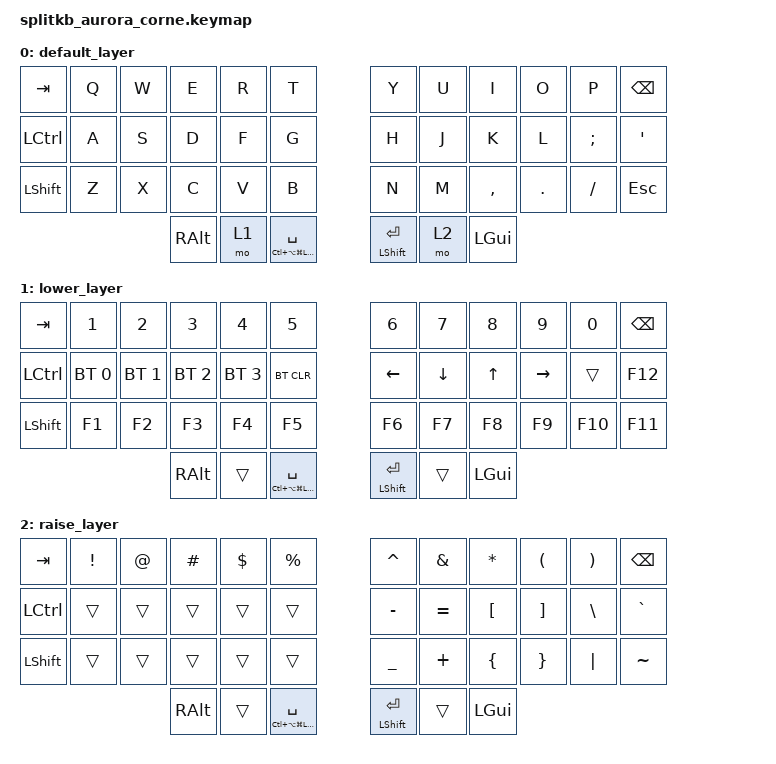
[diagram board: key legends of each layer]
/*
 * Copyright (c) 2020 The ZMK Contributors
 *
 * SPDX-License-Identifier: MIT
 */

#include <behaviors.dtsi>
#include <dt-bindings/zmk/keys.h>
#include <dt-bindings/zmk/bt.h>

&mt {
    retro-tap;
    flavor="tap-preferred";
};

/ {
        keymap {
                compatible = "zmk,keymap";

                default_layer {
// -----------------------------------------------------------------------------------------
// |  TAB |  Q  |  W  |  E  |  R  |  T  |   |  Y  |  U   |  I  |  O  |  P  | BSPC |
// | CTRL |  A  |  S  |  D  |  F  |  G  |   |  H  |  J   |  K  |  L  |  ;  |  '   |
// | SHFT |  Z  |  X  |  C  |  V  |  B  |   |  N  |  M   |  ,  |  .  |  /  | ESC  |
//                    | ALT | LWR | HSPC |   | HENT | RSE  | GUI |
                        bindings = <
   &kp TAB   &kp Q &kp W &kp E &kp R &kp T   &kp Y &kp U  &kp I     &kp O   &kp P    &kp BSPC
   &kp LCTRL &kp A &kp S &kp D &kp F &kp G   &kp H &kp J  &kp K     &kp L   &kp SEMI &kp SQT
   &kp LSHFT &kp Z &kp X &kp C &kp V &kp B   &kp N &kp M  &kp COMMA &kp DOT &kp FSLH &kp ESC
        &kp RALT &mo 1 &mt LC(LA(LG(LSHIFT))) SPACE &mt LSHIFT RET &mo 2 &kp LGUI 
                        >;
                };
                lower_layer {
// -----------------------------------------------------------------------------------------
// |  TAB |  1  |  2  |  3  |  4  |  5  |   |  6  |  7  |  8  |  9  |  0  | BSPC |
// | CTRL | BT1 | BT2 | BT3 | BT4 | BT_clear |   | LFT | DWN |  UP | RGT |     | F12  |
// | SHFT | F1  | F2  | F3  | F4  | F5  |   | F6  | F7  | F8  | F9  | F10 | F11  |
//                    | ALT |     | HSPC |   | HENT |     | GUI |
                        bindings = <
   &kp TAB    &kp N1       &kp N2       &kp N3       &kp N4       &kp N5         &kp N6   &kp N7   &kp N8 &kp N9    &kp N0  &kp BSPC
   &kp LCTRL  &bt BT_SEL 0 &bt BT_SEL 1 &bt BT_SEL 2 &bt BT_SEL 3 &bt BT_CLR     &kp LEFT &kp DOWN &kp UP &kp RIGHT &trans  &kp F12
   &kp LSHFT  &kp F1       &kp F2       &kp F3       &kp F4       &kp F5         &kp F6   &kp F7   &kp F8 &kp F9    &kp F10 &kp F11
        &kp RALT &trans   &mt LC(LA(LG(LSHIFT))) SPACE  &mt LSHIFT RET  &trans   &kp LGUI     
                        >;
                };

                raise_layer {
// -----------------------------------------------------------------------------------------
// |  TAB |  !  |  @  |  #  |  $  |  %  |   |  ^  |  &  |  *  |  (  |  )  | BSPC |
// | CTRL |     |     |     |     |     |   |  -  |  =  |  [  |  ]  |  \  |  `   |
// | SHFT |     |     |     |     |     |   |  _  |  +  |  {  |  }  | "|" |  ~   |
//                    | ALT |     | HSPC |   | ENT |     | GUI |
                        bindings = <
   &kp  TAB  &kp EXCL &kp AT &kp HASH &kp DLLR &kp PRCNT   &kp CARET &kp AMPS  &kp ASTRK &kp LPAR &kp RPAR &kp BSPC
   &kp LCTRL &trans   &trans &trans   &trans   &trans      &kp MINUS &kp EQUAL &kp LBKT  &kp RBKT &kp BSLH &kp GRAVE
   &kp LSHFT &trans   &trans &trans   &trans   &trans      &kp UNDER &kp PLUS  &kp LBRC  &kp RBRC &kp PIPE &kp TILDE
        &kp RALT &trans  &mt LC(LA(LG(LSHIFT))) SPACE   &mt LSHIFT RET   &trans    &kp LGUI 
                        >;
                };
        };
};
